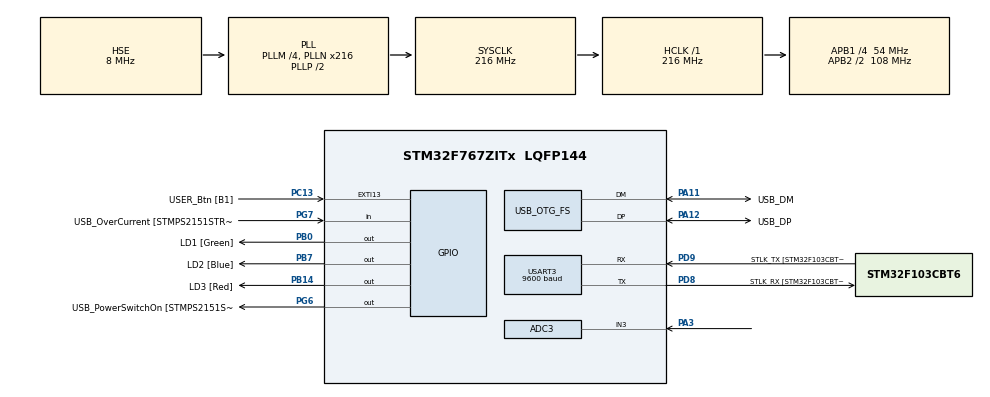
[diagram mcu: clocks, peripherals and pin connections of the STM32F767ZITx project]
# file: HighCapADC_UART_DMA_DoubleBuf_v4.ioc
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ADC3.Channel-0\#ChannelRegularConversion=ADC_CHANNEL_3
ADC3.ContinuousConvMode=ENABLE
ADC3.DMAContinuousRequests=ENABLE
ADC3.EnableAnalogWatchDog=true
ADC3.HighThreshold=10
ADC3.ITMode=ENABLE
ADC3.NbrOfConversion=1
ADC3.NbrOfConversionFlag=1
ADC3.Rank-0\#ChannelRegularConversion=1
ADC3.Resolution=ADC_RESOLUTION_8B
ADC3.SamplingTime-0\#ChannelRegularConversion=ADC_SAMPLETIME_3CYCLES
ADC3.WatchdogChannel=ADC_CHANNEL_3
ADC3.WatchdogMode=ADC_ANALOGWATCHDOG_SINGLE_REG
Dma.ADC3.0.Direction=DMA_PERIPH_TO_MEMORY
Dma.ADC3.0.FIFOMode=DMA_FIFOMODE_DISABLE
Dma.ADC3.0.Instance=DMA2_Stream0
Dma.ADC3.0.MemDataAlignment=DMA_MDATAALIGN_BYTE
Dma.ADC3.0.MemInc=DMA_MINC_ENABLE
Dma.ADC3.0.Mode=DMA_NORMAL
Dma.ADC3.0.PeriphDataAlignment=DMA_PDATAALIGN_BYTE
Dma.ADC3.0.PeriphInc=DMA_PINC_DISABLE
Dma.ADC3.0.Priority=DMA_PRIORITY_LOW
Dma.Request0=ADC3
Dma.Request1=USART3_TX
Dma.USART3_TX.1.Direction=DMA_MEMORY_TO_PERIPH
Dma.USART3_TX.1.FIFOMode=DMA_FIFOMODE_DISABLE
Dma.USART3_TX.1.Instance=DMA1_Stream3
Dma.USART3_TX.1.MemDataAlignment=DMA_MDATAALIGN_BYTE
Dma.USART3_TX.1.MemInc=DMA_MINC_ENABLE
Dma.USART3_TX.1.Mode=DMA_NORMAL
Dma.USART3_TX.1.PeriphDataAlignment=DMA_PDATAALIGN_BYTE
Dma.USART3_TX.1.PeriphInc=DMA_PINC_DISABLE
Dma.USART3_TX.1.Priority=DMA_PRIORITY_LOW
Mcu.Family=STM32F7
Mcu.Name=STM32F767ZITx
Mcu.Package=LQFP144
NVIC.ADC_IRQn=true\:0\:0\:false\:false\:true\:true\:true
NVIC.DMA1_Stream3_IRQn=true\:0\:0\:false\:false\:true\:false\:true
NVIC.DMA2_Stream0_IRQn=true\:0\:0\:false\:false\:true\:false\:true
NVIC.OTG_FS_IRQn=true\:0\:0\:false\:false\:true\:false\:true
NVIC.PriorityGroup=NVIC_PRIORITYGROUP_4
NVIC.USART3_IRQn=true\:0\:0\:false\:false\:true\:true\:true
PA1.GPIO_Label=RMII_REF_CLK [LAN8742A-CZ-TR_REFCLK0]
PA1.Signal=ETH_REF_CLK
PA10.GPIO_Label=USB_ID
PA10.Signal=USB_OTG_FS_ID
PA11.GPIO_Label=USB_DM
PA11.Mode=Device_Only
PA11.Signal=USB_OTG_FS_DM
PA12.GPIO_Label=USB_DP
PA12.Mode=Device_Only
PA12.Signal=USB_OTG_FS_DP
PA13.GPIO_Label=TMS
PA13.Mode=Serial_Wire
PA13.Signal=SYS_JTMS-SWDIO
PA14.GPIO_Label=TCK
PA14.Mode=Serial_Wire
PA14.Signal=SYS_JTCK-SWCLK
PA2.GPIO_Label=RMII_MDIO [LAN8742A-CZ-TR_MDIO]
PA2.Signal=ETH_MDIO
PA3.Signal=ADCx_IN3
PA7.GPIO_Label=RMII_CRS_DV [LAN8742A-CZ-TR_CRS_DV]
PA7.Signal=ETH_CRS_DV
PA8.GPIO_Label=USB_SOF [TP1]
PA8.Signal=USB_OTG_FS_SOF
PA9.GPIO_Label=USB_VBUS
PA9.Signal=USB_OTG_FS_VBUS
PB0.GPIO_Label=LD1 [Green]
PB0.Signal=GPIO_Output
PB13.GPIO_Label=RMII_TXD1 [LAN8742A-CZ-TR_TXD1]
PB13.Signal=ETH_TXD1
PB14.GPIO_Label=LD3 [Red]
PB14.Signal=GPIO_Output
PB3.GPIO_Label=SWO
PB3.Signal=SYS_JTDO-SWO
PB7.GPIO_Label=LD2 [Blue]
PB7.Signal=GPIO_Output
PC1.GPIO_Label=RMII_MDC [LAN8742A-CZ-TR_MDC]
PC1.Signal=ETH_MDC
PC13.GPIO_Label=USER_Btn [B1]
PC13.Signal=GPXTI13
PC14/OSC32_IN.Mode=LSE-External-Oscillator
PC14/OSC32_IN.Signal=RCC_OSC32_IN
PC15/OSC32_OUT.Mode=LSE-External-Oscillator
PC15/OSC32_OUT.Signal=RCC_OSC32_OUT
PC4.GPIO_Label=RMII_RXD0 [LAN8742A-CZ-TR_RXD0]
PC4.Signal=ETH_RXD0
PC5.GPIO_Label=RMII_RXD1 [LAN8742A-CZ-TR_RXD1]
PC5.Signal=ETH_RXD1
PD8.GPIO_Label=STLK_RX [STM32F103CBT6_PA3]
PD8.Mode=Asynchronous
PD8.Signal=USART3_TX
PD9.GPIO_Label=STLK_TX [STM32F103CBT6_PA2]
PD9.Mode=Asynchronous
PD9.Signal=USART3_RX
PG11.GPIO_Label=RMII_TX_EN [LAN8742A-CZ-TR_TXEN]
PG11.Signal=ETH_TX_EN
PG13.GPIO_Label=RMII_TXD0 [LAN8742A-CZ-TR_TXD0]
PG13.Signal=ETH_TXD0
PG6.GPIO_Label=USB_PowerSwitchOn [STMPS2151STR_EN]
PG6.Signal=GPIO_Output
PG7.GPIO_Label=USB_OverCurrent [STMPS2151STR_FAULT]
PG7.Signal=GPIO_Input
PH0/OSC_IN.GPIO_Label=MCO [STM32F103CBT6_PA8]
PH0/OSC_IN.Mode=HSE-External-Clock-Source
PH0/OSC_IN.Signal=RCC_OSC_IN
PH1/OSC_OUT.Mode=HSE-External-Clock-Source
PH1/OSC_OUT.Signal=RCC_OSC_OUT
ProjectManager.HeapSize=0x200
ProjectManager.StackSize=0x400
ProjectManager.TargetToolchain=STM32CubeIDE
RCC.48MHZClocksFreq_Value=24000000
RCC.AHBFreq_Value=216000000
RCC.APB1CLKDivider=RCC_HCLK_DIV4
RCC.APB1Freq_Value=54000000
RCC.APB1TimFreq_Value=108000000
RCC.APB2CLKDivider=RCC_HCLK_DIV2
RCC.APB2Freq_Value=108000000
RCC.APB2TimFreq_Value=216000000
RCC.CortexFreq_Value=216000000
RCC.HCLKFreq_Value=216000000
RCC.HSE_VALUE=8000000
RCC.HSI_VALUE=16000000
RCC.PLLM=4
RCC.PLLMUL=RCC_PLL_MUL9
RCC.PLLN=216
RCC.PLLQ=9
RCC.PRESCALERUSB=RCC_USBCLKSOURCE_PLL_DIV1_5
RCC.SYSCLKFreq_VALUE=216000000
RCC.SYSCLKSource=RCC_SYSCLKSOURCE_PLLCLK
RCC.SYSCLKSourceVirtual=RCC_SYSCLKSOURCE_PLLCLK
RCC.USBFreq_Value=48000000
RCC.VCOOutputFreq_Value=432000000
SH.ADCx_IN3.0=ADC3_IN3,IN3
USART3.BaudRate=9600
USART3.Parity=PARITY_EVEN
USART3.VirtualMode-Asynchronous=VM_ASYNC
USART3.WordLength=WORDLENGTH_9B
USB_DEVICE.APP_RX_DATA_SIZE-CDC_FS=64
USB_DEVICE.APP_TX_DATA_SIZE-CDC_FS=64
USB_DEVICE.CLASS_NAME_FS=CDC
USB_DEVICE.USBD_MAX_STR_DESC_SIZ-CDC_FS=256
USB_DEVICE.USBD_SELF_POWERED-CDC_FS=0
USB_DEVICE.VirtualMode-CDC_FS=Cdc
USB_DEVICE.VirtualModeFS=Cdc_FS
USB_OTG_FS.VirtualMode=Device_Only
VP_USB_DEVICE_VS_USB_DEVICE_CDC_FS.Mode=CDC_FS
board=NUCLEO-F767ZI

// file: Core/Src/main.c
/* USER CODE BEGIN Header */
/**CDC_DATA_HS_MAX_PACKET_SIZE  == 256
 http://uc.org.ru/node/153

¬рем¤ затрачиваемое на преобразование (опрос) одного канала можно посчитать согласно стр 450 RM0410 Rev 4:
ADCCLK=PCLK2/2=72/2=36MHz
Witch ADCCLK = 36 MHz and sampling time = 3 cycles
Tconv = 3 +12 = 15 cycles = 15/36=0.41(6) us with APB2 at 72 MHz
  */
/* USER CODE END Header */

#include "main.h"
#include "usb_device.h"

/* USER CODE BEGIN Includes */
#include <limits.h>
#include <stdbool.h>
#include "usbd_cdc_if.h"
/* USER CODE END Includes */

ADC_HandleTypeDef hadc3;
DMA_HandleTypeDef hdma_adc3;

UART_HandleTypeDef huart3;
DMA_HandleTypeDef hdma_usart3_tx;

/* USER CODE BEGIN PV */
volatile bool WDfetch = false;  //отмашка от analog WD: натрави DMA на ADC

#define AdcBuffSize 800//( USHRT_MAX )
uint8_t AdcBuff[2][AdcBuffSize];

volatile uint8_t dataUART_FromPC[3];
/* USER CODE END PV */

void SystemClock_Config(void);
static void MX_GPIO_Init(void);
static void MX_DMA_Init(void);
static void MX_USART3_UART_Init(void);
static void MX_ADC3_Init(void);

int main(void)
{

  /* MCU Configuration--------------------------------------------------------*/

  /* Reset of all peripherals, Initializes the Flash interface and the Systick. */
  HAL_Init();

  /* Configure the system clock */
  SystemClock_Config();

  /* Initialize all configured peripherals */
  MX_GPIO_Init();
  MX_DMA_Init();
  MX_USART3_UART_Init();
  MX_USB_DEVICE_Init();
  MX_ADC3_Init();
  /* USER CODE BEGIN 2 */

  HAL_UART_Receive_IT(&huart3, dataUART_FromPC, 3);

	if( HAL_ADC_Start(&hadc3) != HAL_OK)
		return 0;
	 // -- Enables ADC DMA request
	uint8_t *buffPtr = (uint8_t*)&AdcBuff[0];
	if (HAL_ADC_Start_DMA(&hadc3, (uint32_t*)buffPtr, AdcBuffSize) != HAL_OK) //uint8_t ?
		return 0;
  /* USER CODE END 2 */

  /* Infinite loop */
  /* USER CODE BEGIN WHILE */
  while (1)
  {
	if (HAL_GPIO_ReadPin(USER_Btn_GPIO_Port,GPIO_PIN_13) == GPIO_PIN_SET)
	{
		HAL_ADC_Start_DMA(&hadc3, (uint32_t*)AdcBuff, AdcBuffSize);
		HAL_Delay(1000);
	}
    /* USER CODE END WHILE */

  }
}

void SystemClock_Config(void)
{
  RCC_OscInitTypeDef RCC_OscInitStruct = {0};
  RCC_ClkInitTypeDef RCC_ClkInitStruct = {0};
  RCC_PeriphCLKInitTypeDef PeriphClkInitStruct = {0};

  /** Configure LSE Drive Capability
  */
  HAL_PWR_EnableBkUpAccess();
  /** Configure the main internal regulator output voltage
  */
  __HAL_RCC_PWR_CLK_ENABLE();
  __HAL_PWR_VOLTAGESCALING_CONFIG(PWR_REGULATOR_VOLTAGE_SCALE1);
  /** Initializes the CPU, AHB and APB busses clocks
  */
  RCC_OscInitStruct.OscillatorType = RCC_OSCILLATORTYPE_HSE;
  RCC_OscInitStruct.HSEState = RCC_HSE_BYPASS;
  RCC_OscInitStruct.PLL.PLLState = RCC_PLL_ON;
  RCC_OscInitStruct.PLL.PLLSource = RCC_PLLSOURCE_HSE;
  RCC_OscInitStruct.PLL.PLLM = 4;
  RCC_OscInitStruct.PLL.PLLN = 216;
  RCC_OscInitStruct.PLL.PLLP = RCC_PLLP_DIV2;
  RCC_OscInitStruct.PLL.PLLQ = 9;
  if (HAL_RCC_OscConfig(&RCC_OscInitStruct) != HAL_OK)
  {
    Error_Handler();
  }
  /** Activate the Over-Drive mode
  */
  if (HAL_PWREx_EnableOverDrive() != HAL_OK)
  {
    Error_Handler();
  }
  /** Initializes the CPU, AHB and APB busses clocks
  */
  RCC_ClkInitStruct.ClockType = RCC_CLOCKTYPE_HCLK|RCC_CLOCKTYPE_SYSCLK
                              |RCC_CLOCKTYPE_PCLK1|RCC_CLOCKTYPE_PCLK2;
  RCC_ClkInitStruct.SYSCLKSource = RCC_SYSCLKSOURCE_PLLCLK;
  RCC_ClkInitStruct.AHBCLKDivider = RCC_SYSCLK_DIV1;
  RCC_ClkInitStruct.APB1CLKDivider = RCC_HCLK_DIV4;
  RCC_ClkInitStruct.APB2CLKDivider = RCC_HCLK_DIV2;

  if (HAL_RCC_ClockConfig(&RCC_ClkInitStruct, FLASH_LATENCY_7) != HAL_OK)
  {
    Error_Handler();
  }
  PeriphClkInitStruct.PeriphClockSelection = RCC_PERIPHCLK_USART3|RCC_PERIPHCLK_CLK48;
  PeriphClkInitStruct.Usart3ClockSelection = RCC_USART3CLKSOURCE_PCLK1;
  PeriphClkInitStruct.Clk48ClockSelection = RCC_CLK48SOURCE_PLL;
  if (HAL_RCCEx_PeriphCLKConfig(&PeriphClkInitStruct) != HAL_OK)
  {
    Error_Handler();
  }
}

static void MX_ADC3_Init(void)
{

  ADC_AnalogWDGConfTypeDef AnalogWDGConfig = {0};
  ADC_ChannelConfTypeDef sConfig = {0};

  /** Configure the global features of the ADC (Clock, Resolution, Data Alignment and number of conversion)
  */
  hadc3.Instance = ADC3;
  hadc3.Init.ClockPrescaler = ADC_CLOCK_SYNC_PCLK_DIV4;
  hadc3.Init.Resolution = ADC_RESOLUTION_8B;
  hadc3.Init.ScanConvMode = ADC_SCAN_DISABLE;
  hadc3.Init.ContinuousConvMode = ENABLE;
  hadc3.Init.DiscontinuousConvMode = DISABLE;
  hadc3.Init.ExternalTrigConvEdge = ADC_EXTERNALTRIGCONVEDGE_NONE;
  hadc3.Init.ExternalTrigConv = ADC_SOFTWARE_START;
  hadc3.Init.DataAlign = ADC_DATAALIGN_RIGHT;
  hadc3.Init.NbrOfConversion = 1;
  hadc3.Init.DMAContinuousRequests = ENABLE;
  hadc3.Init.EOCSelection = ADC_EOC_SINGLE_CONV;
  if (HAL_ADC_Init(&hadc3) != HAL_OK)
  {
    Error_Handler();
  }
  /** Configure the analog watchdog
  */
  AnalogWDGConfig.WatchdogMode = ADC_ANALOGWATCHDOG_SINGLE_REG;
  AnalogWDGConfig.HighThreshold = 10;
  AnalogWDGConfig.LowThreshold = 0;
  AnalogWDGConfig.Channel = ADC_CHANNEL_3;
  AnalogWDGConfig.ITMode = ENABLE;
  if (HAL_ADC_AnalogWDGConfig(&hadc3, &AnalogWDGConfig) != HAL_OK)
  {
    Error_Handler();
  }
  /** Configure for the selected ADC regular channel its corresponding rank in the sequencer and its sample time.
  */
  sConfig.Channel = ADC_CHANNEL_3;
  sConfig.Rank = ADC_REGULAR_RANK_1;
  sConfig.SamplingTime = ADC_SAMPLETIME_3CYCLES;
  if (HAL_ADC_ConfigChannel(&hadc3, &sConfig) != HAL_OK)
  {
    Error_Handler();
  }

}

static void MX_USART3_UART_Init(void)
{

  huart3.Instance = USART3;
  huart3.Init.BaudRate = 9600;
  huart3.Init.WordLength = UART_WORDLENGTH_9B;
  huart3.Init.StopBits = UART_STOPBITS_1;
  huart3.Init.Parity = UART_PARITY_EVEN;
  huart3.Init.Mode = UART_MODE_TX_RX;
  huart3.Init.HwFlowCtl = UART_HWCONTROL_NONE;
  huart3.Init.OverSampling = UART_OVERSAMPLING_16;
  huart3.Init.OneBitSampling = UART_ONE_BIT_SAMPLE_DISABLE;
  huart3.AdvancedInit.AdvFeatureInit = UART_ADVFEATURE_NO_INIT;
  if (HAL_UART_Init(&huart3) != HAL_OK)
  {
    Error_Handler();
  }

}

static void MX_DMA_Init(void)
{

  /* DMA controller clock enable */
  __HAL_RCC_DMA2_CLK_ENABLE();
  __HAL_RCC_DMA1_CLK_ENABLE();

  /* DMA interrupt init */
  /* DMA1_Stream3_IRQn interrupt configuration */
  HAL_NVIC_SetPriority(DMA1_Stream3_IRQn, 0, 0);
  HAL_NVIC_EnableIRQ(DMA1_Stream3_IRQn);
  /* DMA2_Stream0_IRQn interrupt configuration */
  HAL_NVIC_SetPriority(DMA2_Stream0_IRQn, 0, 0);
  HAL_NVIC_EnableIRQ(DMA2_Stream0_IRQn);

}

static void MX_GPIO_Init(void)
{
  GPIO_InitTypeDef GPIO_InitStruct = {0};

  /* GPIO Ports Clock Enable */
  __HAL_RCC_GPIOC_CLK_ENABLE();
  __HAL_RCC_GPIOH_CLK_ENABLE();
  __HAL_RCC_GPIOA_CLK_ENABLE();
  __HAL_RCC_GPIOB_CLK_ENABLE();
  __HAL_RCC_GPIOD_CLK_ENABLE();
  __HAL_RCC_GPIOG_CLK_ENABLE();

  /*Configure GPIO pin Output Level */
  HAL_GPIO_WritePin(GPIOB, LD1_Pin|LD3_Pin|LD2_Pin, GPIO_PIN_RESET);

  /*Configure GPIO pin Output Level */
  HAL_GPIO_WritePin(USB_PowerSwitchOn_GPIO_Port, USB_PowerSwitchOn_Pin, GPIO_PIN_RESET);

  /*Configure GPIO pin : USER_Btn_Pin */
  GPIO_InitStruct.Pin = USER_Btn_Pin;
  GPIO_InitStruct.Mode = GPIO_MODE_IT_RISING;
  GPIO_InitStruct.Pull = GPIO_NOPULL;
  HAL_GPIO_Init(USER_Btn_GPIO_Port, &GPIO_InitStruct);

  /*Configure GPIO pins : RMII_MDC_Pin RMII_RXD0_Pin RMII_RXD1_Pin */
  GPIO_InitStruct.Pin = RMII_MDC_Pin|RMII_RXD0_Pin|RMII_RXD1_Pin;
  GPIO_InitStruct.Mode = GPIO_MODE_AF_PP;
  GPIO_InitStruct.Pull = GPIO_NOPULL;
  GPIO_InitStruct.Speed = GPIO_SPEED_FREQ_VERY_HIGH;
  GPIO_InitStruct.Alternate = GPIO_AF11_ETH;
  HAL_GPIO_Init(GPIOC, &GPIO_InitStruct);

  /*Configure GPIO pins : RMII_REF_CLK_Pin RMII_MDIO_Pin RMII_CRS_DV_Pin */
  GPIO_InitStruct.Pin = RMII_REF_CLK_Pin|RMII_MDIO_Pin|RMII_CRS_DV_Pin;
  GPIO_InitStruct.Mode = GPIO_MODE_AF_PP;
  GPIO_InitStruct.Pull = GPIO_NOPULL;
  GPIO_InitStruct.Speed = GPIO_SPEED_FREQ_VERY_HIGH;
  GPIO_InitStruct.Alternate = GPIO_AF11_ETH;
  HAL_GPIO_Init(GPIOA, &GPIO_InitStruct);

  /*Configure GPIO pins : LD1_Pin LD3_Pin LD2_Pin */
  GPIO_InitStruct.Pin = LD1_Pin|LD3_Pin|LD2_Pin;
  GPIO_InitStruct.Mode = GPIO_MODE_OUTPUT_PP;
  GPIO_InitStruct.Pull = GPIO_NOPULL;
  GPIO_InitStruct.Speed = GPIO_SPEED_FREQ_LOW;
  HAL_GPIO_Init(GPIOB, &GPIO_InitStruct);

  /*Configure GPIO pin : RMII_TXD1_Pin */
  GPIO_InitStruct.Pin = RMII_TXD1_Pin;
  GPIO_InitStruct.Mode = GPIO_MODE_AF_PP;
  GPIO_InitStruct.Pull = GPIO_NOPULL;
  GPIO_InitStruct.Speed = GPIO_SPEED_FREQ_VERY_HIGH;
  GPIO_InitStruct.Alternate = GPIO_AF11_ETH;
  HAL_GPIO_Init(RMII_TXD1_GPIO_Port, &GPIO_InitStruct);

  /*Configure GPIO pin : USB_PowerSwitchOn_Pin */
  GPIO_InitStruct.Pin = USB_PowerSwitchOn_Pin;
  GPIO_InitStruct.Mode = GPIO_MODE_OUTPUT_PP;
  GPIO_InitStruct.Pull = GPIO_NOPULL;
  GPIO_InitStruct.Speed = GPIO_SPEED_FREQ_LOW;
  HAL_GPIO_Init(USB_PowerSwitchOn_GPIO_Port, &GPIO_InitStruct);

  /*Configure GPIO pin : USB_OverCurrent_Pin */
  GPIO_InitStruct.Pin = USB_OverCurrent_Pin;
  GPIO_InitStruct.Mode = GPIO_MODE_INPUT;
  GPIO_InitStruct.Pull = GPIO_NOPULL;
  HAL_GPIO_Init(USB_OverCurrent_GPIO_Port, &GPIO_InitStruct);

  /*Configure GPIO pins : RMII_TX_EN_Pin RMII_TXD0_Pin */
  GPIO_InitStruct.Pin = RMII_TX_EN_Pin|RMII_TXD0_Pin;
  GPIO_InitStruct.Mode = GPIO_MODE_AF_PP;
  GPIO_InitStruct.Pull = GPIO_NOPULL;
  GPIO_InitStruct.Speed = GPIO_SPEED_FREQ_VERY_HIGH;
  GPIO_InitStruct.Alternate = GPIO_AF11_ETH;
  HAL_GPIO_Init(GPIOG, &GPIO_InitStruct);

}

/* USER CODE BEGIN 4 */

void HAL_UART_ErrorCallback(UART_HandleTypeDef *huart){
  uint32_t advanten_error_code = huart->ErrorCode;
  HAL_GPIO_TogglePin(LD3_GPIO_Port, LD3_Pin);
  //huart->ErrorCode = HAL_UART_ERROR_NONE;
}

void HAL_UART_RxCpltCallback(UART_HandleTypeDef *huart)
{
  if(huart == &huart3)
  {
      if ((dataUART_FromPC[0] == '1') && (dataUART_FromPC[1] == '2') && (dataUART_FromPC[2] == '3')){
	HAL_GPIO_TogglePin(LD2_GPIO_Port, LD2_Pin);
	HAL_ADC_Start_DMA(&hadc3, (uint32_t*)AdcBuff[0], AdcBuffSize);
      }
      HAL_UART_Receive_IT(&huart3, dataUART_FromPC, 3);
  }
}

void HAL_UART_TxCpltCallback(UART_HandleTypeDef *huart)
{
	if(huart == &huart3){
	}
	/*uint8_t* buffPtr = (volatile uint8_t*)&AdcBuff0;
	HAL_ADC_Start_DMA(&hadc3, (uint32_t*)buffPtr, AdcBuffSize);*/
}

//trig on 0xA0 in ADC data array
static bool LevelTrigger(uint_least8_t bank){
  uint32_t i = 0;
  do{
      if (AdcBuff[bank][i] > trigLevel){
	  return true;
      }
      i+=4;
  }while(i < AdcBuffSize);
  return false;
}

volatile uint8_t adcCode;
volatile bool EventOccurred = false;  //всплеск от М�?У detected
void HAL_ADC_ConvCpltCallback(ADC_HandleTypeDef* hadc){
    uint_least8_t currBank = 255;  // DMA  use second array?
    static TOscState state = FirstBankNext;
    if(hadc->Instance == ADC3) //check if the interrupt comes from ACD1
    {
        //adcCode = HAL_ADC_GetValue(&hadc3);

	if(state == FirstBankNext){
	  currBank = 0;
	  uint8_t *buff2ADC_Ptr = (uint8_t*)&AdcBuff[1];  //ADC write в 1й банк
	  HAL_ADC_Start_DMA(&hadc3, (uint32_t*)buff2ADC_Ptr, AdcBuffSize);
	  if (LevelTrigger(currBank)){
	    uint8_t *buff2UART_Ptr = (uint8_t*)&AdcBuff[0];  //трансмитим по юарт 0й банк
	    HAL_UART_Transmit_DMA(&huart3, buff2UART_Ptr, AdcBuffSize);
	    state = FirstBankIsLast;
	  }else  state = ZeroBankNext;
	}else if(state == ZeroBankNext){
	  currBank = 1;
	  uint8_t *buff2ADC_Ptr = (uint8_t*)&AdcBuff[0];  //ADC write в 0й банк
	  HAL_ADC_Start_DMA(&hadc3, (uint32_t*)buff2ADC_Ptr, AdcBuffSize);
	  if (LevelTrigger(currBank)){
	    uint8_t *buff2UART_Ptr = (uint8_t*)&AdcBuff[1];  //трансмитим по юарт 1й банк
	    HAL_UART_Transmit_DMA(&huart3, buff2UART_Ptr, AdcBuffSize);
	    state = ZeroBankIsLast;
	  }else state = FirstBankNext;
	}else  if(state == FirstBankIsLast){
	    uint8_t *buff2UART_Ptr = (uint8_t*)&AdcBuff[1];  //трансмитим по юарт 1й банк
	    HAL_UART_Transmit_DMA(&huart3, buff2UART_Ptr, AdcBuffSize);
	    state = ZeroBankNext;//BankNoMore;
	}else  if(state == ZeroBankIsLast){
	    uint8_t *buff2UART_Ptr = (uint8_t*)&AdcBuff[0];  //трансмитим по юарт 0й банк
	    HAL_UART_Transmit_DMA(&huart3, buff2UART_Ptr, AdcBuffSize);
	    state = ZeroBankNext;//BankNoMore;
	}
    }
	/*HAL_ADC_Stop(&hadc3);
	CDC_Transmit_FS(AdcBuff, AdcBuffSize);*/
}

void HAL_ADC_LevelOutOfWindowCallback(ADC_HandleTypeDef* hadc)
{
	WDfetch = true;
    if(hadc->Instance == ADC3) //check if the interrupt comes from ACD1
    {
     	HAL_GPIO_WritePin(LD2_GPIO_Port, GPIO_PIN_7, GPIO_PIN_SET);
    }
}
/* USER CODE END 4 */

void Error_Handler(void)
{
}

/************************ (C) COPYRIGHT STMicroelectronics *****END OF FILE****/
